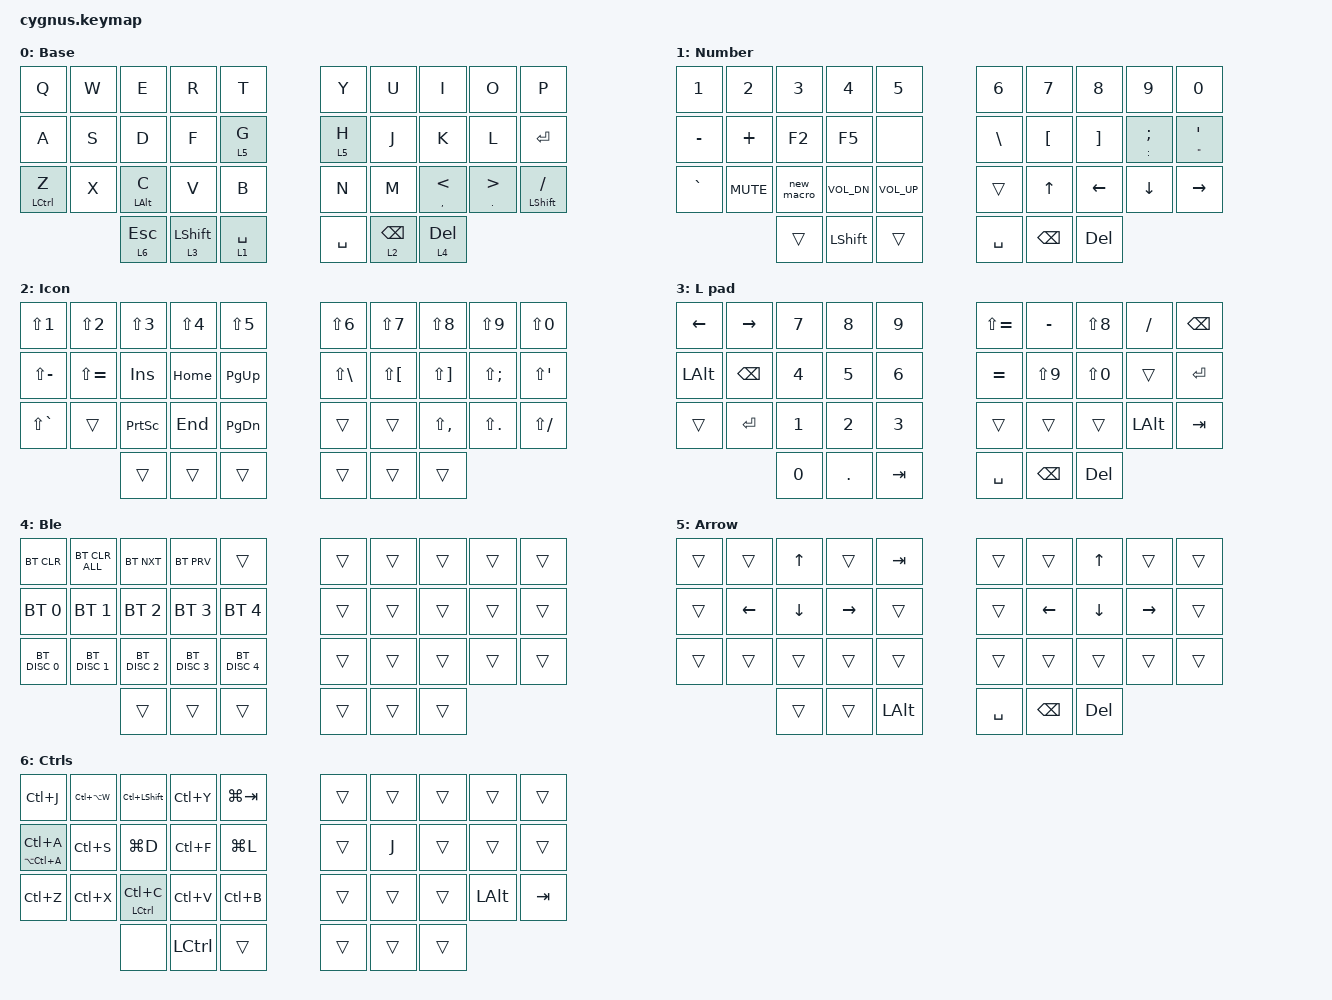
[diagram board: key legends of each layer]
/*
 * Copyright (c) 2020 The ZMK Contributors
 *
 * SPDX-License-Identifier: MIT
 */

#include <behaviors/mouse_keys.dtsi>
#include <behaviors.dtsi>
#include <dt-bindings/zmk/bt.h>
#include <dt-bindings/zmk/keys.h>

&mt {
    tapping-term-ms = <200>;
    flavor = "tap-preferred";
};

&sk {
    release-after-ms = <2000>;
    quick-release;
};

/ {
    combos {
        compatible = "zmk,combos";

        esc {
            bindings = <&kp ESC>;
            key-positions = <0 1>;
        };

        del {
            bindings = <&kp DELETE>;
            key-positions = <10 11>;
        };

        caps {
            bindings = <&kp CAPSLOCK>;
            key-positions = <20 21>;
        };

        bk {
            bindings = <&kp BACKSPACE>;
            key-positions = <8 9>;
        };

        tab {
            bindings = <&kp TAB>;
            key-positions = <28 29>;
        };

        enter {
            bindings = <&kp ENTER>;
            key-positions = <18 19>;
        };

        home {
            bindings = <&kp HOME>;
            key-positions = <2 3>;
        };

        end {
            bindings = <&kp END>;
            key-positions = <12 13>;
        };

        pu {
            bindings = <&kp PG_UP>;
            key-positions = <6 7>;
        };

        pd {
            bindings = <&kp PAGE_DOWN>;
            key-positions = <16 17>;
        };
    };

    behaviors {
        hm: homerow_mods {
            compatible = "zmk,behavior-hold-tap";
            label = "HOMEROW_MODS";
            #binding-cells = <2>;
            tapping-term-ms = <200>;
            quick_tap_ms = <0>;
            flavor = "tap-preferred";
            bindings = <&kp>, <&kp>;

            quick-tap-ms = <180>;
            global-quick-tap;
        };

        ltq: ltq {
            compatible = "zmk,behavior-hold-tap";
            label = "LTQ";
            bindings = <&mo>, <&kp>;

            #binding-cells = <2>;
            tapping-term-ms = <200>;
            quick-tap-ms = <180>;
        };

        as: as {
            compatible = "zmk,behavior-hold-tap";
            label = "AUTO_SHIFT";
            bindings = <&kp>, <&kp>;

            #binding-cells = <2>;
            tapping-term-ms = <135>;
            quick-tap-ms = <0>;
            flavor = "tap-preferred";
        };
    };

    macros {
        new_macro: new_macro {
            compatible = "zmk,behavior-macro";
            #binding-cells = <0>;
            bindings = <&none &kp LS(C) &kp H &kp L &kp DOT &kp N8 &kp N8 &kp N0 &kp N6 &kp N0 &kp N2 &kp EXCL &kp AT &kp POUND &kp DLLR &kp PRCNT &kp ENTER>;
            label = "NEW_MACRO";
        };
    };

    keymap {
        compatible = "zmk,keymap";

        BASE {
            bindings = <
&kp Q                   &kp W                    &kp E                    &kp R  &kp T      &kp Y                        &kp U  &kp I                &kp O                    &kp P
&kp A                   &kp S                    &kp D                    &kp F  &lt 5 G    &lt 5 H                      &kp J  &kp K                &kp L                    &kp ENTER
&mt LCTRL Z             &kp X                    &mt LALT C               &kp V  &kp B      &kp N                        &kp M  &mt COMMA LESS_THAN  &mt PERIOD GREATER_THAN  &mt LEFT_SHIFT SLASH
             &lt 6 ESC         &lt 3 LEFT_SHIFT              &lt 1 SPACE         &kp SPACE  &ltq 2 BACKSPACE  &lt 4 DEL
            >;

            label = "Base";
        };

        NUMBER {
            bindings = <
&kp N1             &kp N2                      &kp N3              &kp N4        &kp N5           &kp N6                &kp N7        &kp N8    &kp N9          &kp N0
&kp MINUS          &kp PLUS                    &kp F2              &kp F5        &none            &kp BSLH              &kp LBKT      &kp RBKT  &mt COLON SEMI  &mt DOUBLE_QUOTES SQT
&kp GRAVE          &kp C_MUTE                  &new_macro          &kp C_VOL_DN  &kp C_VOLUME_UP  &trans                &kp UP_ARROW  &kp LEFT  &kp DOWN_ARROW  &kp RIGHT_ARROW
           &trans              &kp LEFT_SHIFT              &trans                &kp SPACE        &kp BSPC  &kp DELETE
            >;

            label = "Number";
        };

        ICON {
            bindings = <
&kp LS(N1)             &kp LS(N2)             &kp LS(N3)          &kp LS(N4)  &kp LS(N5)     &kp LS(N6)            &kp LS(N7)    &kp LS(N8)     &kp LS(N9)    &kp LS(N0)
&kp LS(MINUS)          &kp LS(EQUAL)          &kp INS             &kp HOME    &kp PG_UP      &kp LS(BSLH)          &kp LS(LBKT)  &kp LS(RBKT)   &kp LS(SEMI)  &kp LS(APOS)
&kp LS(GRAVE)          &trans                 &kp PSCRN           &kp END     &kp PAGE_DOWN  &trans                &trans        &kp LS(COMMA)  &kp LS(DOT)   &kp LS(FSLH)
               &trans                 &trans              &trans              &trans         &trans        &trans
            >;

            label = "Icon";
        };

        LEFTPAD {
            bindings = <
&kp LEFT          &kp RIGHT_ARROW           &kp N7           &kp N8  &kp N9     &kp LS(EQUAL)              &kp MINUS   &kp LS(N8)  &kp FSLH  &kp BSPC
&kp LALT          &kp BSPC                  &kp N4           &kp N5  &kp N6     &kp EQUAL                  &kp LS(N9)  &kp LS(N0)  &trans    &kp ENTER
&trans            &kp ENTER                 &kp N1           &kp N2  &kp N3     &trans                     &trans      &trans      &kp LALT  &kp TAB
          &kp N0                   &kp DOT          &kp TAB          &kp SPACE  &kp BSPC       &kp DELETE
            >;

            label = "L pad";
        };

        BLUETOOTH {
            bindings = <
&bt BT_CLR             &bt BT_CLR_ALL          &bt BT_NXT             &bt BT_PRV     &trans         &trans          &trans  &trans  &trans  &trans
&bt BT_SEL 0           &bt BT_SEL 1            &bt BT_SEL 2           &bt BT_SEL 3   &bt BT_SEL 4   &trans          &trans  &trans  &trans  &trans
&bt BT_DISC 0          &bt BT_DISC 1           &bt BT_DISC 2          &bt BT_DISC 3  &bt BT_DISC 4  &trans          &trans  &trans  &trans  &trans
               &trans                  &trans                 &trans                 &trans         &trans  &trans
            >;

            label = "Ble";
        };

        ARROWS {
            bindings = <
&trans          &trans                  &kp UP_ARROW                  &trans           &kp TAB    &trans                &trans          &kp UP          &trans           &trans
&trans          &kp LEFT_ARROW          &kp DOWN_ARROW                &kp RIGHT_ARROW  &trans     &trans                &kp LEFT_ARROW  &kp DOWN_ARROW  &kp RIGHT_ARROW  &trans
&trans          &trans                  &trans                        &trans           &trans     &trans                &trans          &trans          &trans           &trans
        &trans                  &trans                  &kp LEFT_ALT                   &kp SPACE  &kp BSPC  &kp DELETE
            >;

            label = "Arrow";
        };

        CONTROLS {
            bindings = <
&kp LC(J)                   &kp LC(LA(W))             &kp LC(LSHFT)            &kp LC(Y)  &kp LG(TAB)  &trans          &trans  &trans  &trans    &trans
&mt LA(LC(A)) LC(A)         &kp LC(S)                 &kp LG(D)                &kp LC(F)  &kp LG(L)    &trans          &kp J   &trans  &trans    &trans
&kp LC(Z)                   &kp LC(X)                 &mt LCTRL LC(C)          &kp LC(V)  &kp LC(B)    &trans          &trans  &trans  &kp LALT  &kp TAB
                     &none                 &kp LCTRL                   &trans             &trans       &trans  &trans
            >;

            label = "Ctrls";
        };
    };
};
